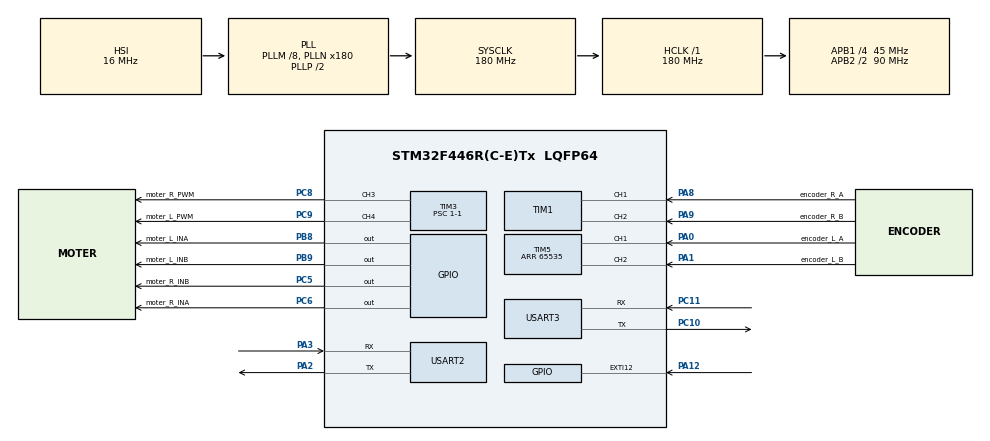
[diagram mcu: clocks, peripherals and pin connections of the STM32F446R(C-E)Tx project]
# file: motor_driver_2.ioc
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Mcu.Family=STM32F4
Dma.USART3_RX.1.Mode=DMA_CIRCULAR
RCC.CortexFreq_Value=180000000
NVIC.TIM6_DAC_IRQn=true\:0\:0\:false\:false\:true\:true\:true
PC10.Signal=USART3_TX
TIM5.EncoderMode=TIM_ENCODERMODE_TI12
SH.S_TIM5_CH2.0=TIM5_CH2,Encoder_Interface
PC6.GPIO_Label=moter_R_INA
TIM1.EncoderMode=TIM_ENCODERMODE_TI12
TIM3.Channel-PWM\ Generation4\ CH4=TIM_CHANNEL_4
RCC.SYSCLKSource=RCC_SYSCLKSOURCE_PLLCLK
ProjectManager.StackSize=0x400
PA12.Signal=GPXTI12
Dma.USART3_RX.1.MemInc=DMA_MINC_ENABLE
Dma.USART3_RX.1.Instance=DMA1_Stream1
Dma.USART2_RX.0.Priority=DMA_PRIORITY_LOW
Dma.USART2_RX.0.PeriphDataAlignment=DMA_PDATAALIGN_BYTE
RCC.HCLKFreq_Value=180000000
RCC.APB2TimFreq_Value=180000000
TIM3.Period=2250
Dma.USART3_RX.1.PeriphDataAlignment=DMA_PDATAALIGN_BYTE
PA1.GPIO_PuPd=GPIO_NOPULL
RCC.AHBFreq_Value=180000000
NVIC.EXTI15_10_IRQn=true\:0\:0\:false\:false\:true\:true\:true
Dma.USART2_RX.0.MemDataAlignment=DMA_MDATAALIGN_BYTE
Dma.USART3_RX.1.Priority=DMA_PRIORITY_LOW
TIM3.Prescaler=1-1
Dma.USART2_RX.0.Instance=DMA1_Stream5
PA8.Signal=S_TIM1_CH1
TIM6.Period=1000
Mcu.Package=LQFP64
PB9.Signal=GPIO_Output
Dma.USART3_RX.1.FIFOMode=DMA_FIFOMODE_DISABLE
Dma.USART2_RX.0.PeriphInc=DMA_PINC_DISABLE
USART2.VirtualMode=VM_ASYNC
Dma.USART2_RX.0.FIFOMode=DMA_FIFOMODE_DISABLE
Dma.USART3_RX.1.Direction=DMA_PERIPH_TO_MEMORY
PC11.Mode=Asynchronous
RCC.APB2CLKDivider=RCC_HCLK_DIV2
Dma.Request1=USART3_RX
RCC.APB1TimFreq_Value=90000000
SH.S_TIM5_CH1.0=TIM5_CH1,Encoder_Interface
PC5.Signal=GPIO_Output
PA12.GPIO_PuPd=GPIO_PULLUP
Dma.Request0=USART2_RX
PA3.Signal=USART2_RX
PB9.GPIO_Label=moter_L_INB
PC9.GPIO_Label=moter_L_PWM
PA9.GPIO_Label=encoder_R_B
PC11.Signal=USART3_RX
PC8.Signal=S_TIM3_CH3
TIM6.Prescaler=90-1
PC6.Signal=GPIO_Output
PC10.Mode=Asynchronous
VP_TIM6_VS_ClockSourceINT.Mode=Enable_Timer
Dma.USART2_RX.0.Direction=DMA_PERIPH_TO_MEMORY
Dma.USART3_RX.1.MemDataAlignment=DMA_MDATAALIGN_BYTE
NVIC.DMA1_Stream1_IRQn=true\:0\:0\:false\:false\:true\:false\:true
RCC.APB1CLKDivider=RCC_HCLK_DIV4
SH.S_TIM3_CH3.0=TIM3_CH3,PWM Generation3 CH3
PA9.GPIO_PuPd=GPIO_NOPULL
PA0-WKUP.GPIO_Label=encoder_L_A
PA0-WKUP.Signal=S_TIM5_CH1
Dma.USART2_RX.0.Mode=DMA_CIRCULAR
PC8.GPIO_Label=moter_R_PWM
PA3.Mode=Asynchronous
TIM3.Channel-PWM\ Generation3\ CH3=TIM_CHANNEL_3
PB8.GPIO_Label=moter_L_INA
PA8.GPIO_Label=encoder_R_A
SH.S_TIM1_CH1.0=TIM1_CH1,Encoder_Interface
ProjectManager.TargetToolchain=STM32CubeIDE
NVIC.DMA1_Stream5_IRQn=true\:0\:0\:false\:false\:true\:false\:true
PA9.Signal=S_TIM1_CH2
RCC.USBFreq_Value=180000000
PA1.Signal=S_TIM5_CH2
board=custom
RCC.VCOOutputFreq_Value=360000000
RCC.APB2Freq_Value=90000000
SH.S_TIM1_CH2.0=TIM1_CH2,Encoder_Interface
PA1.GPIO_Label=encoder_L_B
Mcu.Name=STM32F446R(C-E)Tx
Dma.USART2_RX.0.MemInc=DMA_MINC_ENABLE
PA2.Signal=USART2_TX
RCC.SYSCLKFreq_VALUE=180000000
PC5.GPIO_Label=moter_R_INB
USART3.VirtualMode=VM_ASYNC
ProjectManager.HeapSize=0x200
PA8.GPIO_PuPd=GPIO_NOPULL
NVIC.PriorityGroup=NVIC_PRIORITYGROUP_4
RCC.PLLM=8
RCC.PLLN=180
PA2.Mode=Asynchronous
PB8.Signal=GPIO_Output
PA0-WKUP.GPIO_PuPd=GPIO_NOPULL
TIM5.Period=65535
PC9.Signal=S_TIM3_CH4
RCC.APB1Freq_Value=45000000
Dma.USART3_RX.1.PeriphInc=DMA_PINC_DISABLE
SH.S_TIM3_CH4.0=TIM3_CH4,PWM Generation4 CH4

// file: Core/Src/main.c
/* USER CODE BEGIN Header */
/**
  ******************************************************************************
  * @file           : main.c
  * @brief          : Main program body
  ******************************************************************************
  * @attention
  *
  * <h2><center>&copy; Copyright (c) 2021 STMicroelectronics.
  * All rights reserved.</center></h2>
  *
  * This software component is licensed by ST under BSD 3-Clause license,
  * the "License"; You may not use this file except in compliance with the
  * License. You may obtain a copy of the License at:
  *                        opensource.org/licenses/BSD-3-Clause
  *
  ******************************************************************************
  */
/* USER CODE END Header */
#include "main.h"
#include "dma.h"
#include "tim.h"
#include "usart.h"
#include "gpio.h"

/* USER CODE BEGIN Includes */
#include <stdio.h>
#include <stdlib.h>
#include <time.h>
#include <string.h>
#include "robot_param.h"
#include "robot_control.h"
/* USER CODE END Includes */

/* USER CODE BEGIN PD */
#define RXBUFSIZE 32
/* USER CODE END PD */

/* USER CODE BEGIN PV */
Robot robot;

// for system id
int duty = 400;
float t = 0.0f;
int count = 0;
float vel = 0.0f;

float cmd_velocity = 0.0f;
float cmd_angular_velocity = 0.0f;

char pTxData[6];
char pRxData[6];

const int rx_buffer_size = RXBUFSIZE;

uint8_t uart2_rx_buffer[RXBUFSIZE] = {0};
int uart2_buf_index = 0;
uint8_t uart2_rx_byte = 0;

uint8_t uart3_rx_buffer[RXBUFSIZE] = {0};
int uart3_buf_index = 0;
uint8_t uart3_rx_byte = 0;

char pos_info[32];

const int motor_check = 0b10000000;
const int dir_check   = 0b01000000;
const int value_check = 0b00111111;

volatile int lspeed = 0;
volatile int rspeed = 0;
double dlspeed = 0;
double drspeed = 0;
const double spd_ratio = 0.1;

/* USER CODE END PV */

void SystemClock_Config(void);
/* USER CODE BEGIN PFP */
uint8_t readSerialByte( UART_HandleTypeDef *huart, uint8_t* buf, int* buf_index, const int buf_size);
/* USER CODE END PFP */

int main(void)
{

  /* MCU Configuration--------------------------------------------------------*/

  /* Reset of all peripherals, Initializes the Flash interface and the Systick. */
  HAL_Init();

  /* Configure the system clock */
  SystemClock_Config();

  /* Initialize all configured peripherals */
  MX_GPIO_Init();
  MX_DMA_Init();
  MX_TIM1_Init();
  MX_TIM3_Init();
  MX_TIM5_Init();
  MX_USART2_UART_Init();
  MX_TIM6_Init();
  MX_USART3_UART_Init();
  /* USER CODE BEGIN 2 */
  HAL_UART_Receive_DMA(&huart2,uart2_rx_buffer,rx_buffer_size);
  HAL_UART_Receive_DMA(&huart3,uart3_rx_buffer,rx_buffer_size);
  Robot_init(&robot);
  /* USER CODE END 2 */

  /* Infinite loop */
  while (1)
  {

    /* USER CODE BEGIN 3 */
	memset(pos_info, 0, 32);
	snprintf(pos_info, 32, "%4.4lf %4.4lf\r\n", robot.motor_L.velocity, robot.motor_R.velocity );
	HAL_UART_Transmit(&huart3, (uint8_t *)&pos_info, 32, 10);
//	uart2_rx_byte = readSerialByte(&huart2, uart2_rx_buffer, &uart2_buf_index, rx_buffer_size);
	uart3_rx_byte = readSerialByte(&huart3, uart3_rx_buffer, &uart3_buf_index, rx_buffer_size);
//	if ( uart2_rx_byte != 0){
////		HAL_UART_Transmit(&huart2, &uart2_rx_byte, 1, 10);
//		HAL_UART_Transmit(&huart3, &uart2_rx_byte, 1, 10);
//	}
	if ( uart3_rx_byte != 0){
//		HAL_UART_Transmit(&huart2, &uart3_rx_byte, 1, 10);
//		HAL_UART_Transmit(&huart3, &uart3_rx_byte, 1, 10);
		int motor = uart3_rx_byte & motor_check ? 1:0;
		int dir   = uart3_rx_byte & dir_check ? 1:0; // 0 for negative, 1 for positive
		int value = uart3_rx_byte & value_check;
 		if (motor) {
			// true for left
			lspeed = dir ? value : -value;
			dlspeed = lspeed * spd_ratio;
		} else {
			// false for right
			rspeed = dir ? value : -value;
			drspeed = rspeed * spd_ratio;
		}
	}
  }
  /* USER CODE END 3 */
}

void SystemClock_Config(void)
{
  RCC_OscInitTypeDef RCC_OscInitStruct = {0};
  RCC_ClkInitTypeDef RCC_ClkInitStruct = {0};

  /** Configure the main internal regulator output voltage
  */
  __HAL_RCC_PWR_CLK_ENABLE();
  __HAL_PWR_VOLTAGESCALING_CONFIG(PWR_REGULATOR_VOLTAGE_SCALE1);
  /** Initializes the RCC Oscillators according to the specified parameters
  * in the RCC_OscInitTypeDef structure.
  */
  RCC_OscInitStruct.OscillatorType = RCC_OSCILLATORTYPE_HSI;
  RCC_OscInitStruct.HSIState = RCC_HSI_ON;
  RCC_OscInitStruct.HSICalibrationValue = RCC_HSICALIBRATION_DEFAULT;
  RCC_OscInitStruct.PLL.PLLState = RCC_PLL_ON;
  RCC_OscInitStruct.PLL.PLLSource = RCC_PLLSOURCE_HSI;
  RCC_OscInitStruct.PLL.PLLM = 8;
  RCC_OscInitStruct.PLL.PLLN = 180;
  RCC_OscInitStruct.PLL.PLLP = RCC_PLLP_DIV2;
  RCC_OscInitStruct.PLL.PLLQ = 2;
  RCC_OscInitStruct.PLL.PLLR = 2;
  if (HAL_RCC_OscConfig(&RCC_OscInitStruct) != HAL_OK)
  {
    Error_Handler();
  }
  /** Activate the Over-Drive mode
  */
  if (HAL_PWREx_EnableOverDrive() != HAL_OK)
  {
    Error_Handler();
  }
  /** Initializes the CPU, AHB and APB buses clocks
  */
  RCC_ClkInitStruct.ClockType = RCC_CLOCKTYPE_HCLK|RCC_CLOCKTYPE_SYSCLK
                              |RCC_CLOCKTYPE_PCLK1|RCC_CLOCKTYPE_PCLK2;
  RCC_ClkInitStruct.SYSCLKSource = RCC_SYSCLKSOURCE_PLLCLK;
  RCC_ClkInitStruct.AHBCLKDivider = RCC_SYSCLK_DIV1;
  RCC_ClkInitStruct.APB1CLKDivider = RCC_HCLK_DIV4;
  RCC_ClkInitStruct.APB2CLKDivider = RCC_HCLK_DIV2;

  if (HAL_RCC_ClockConfig(&RCC_ClkInitStruct, FLASH_LATENCY_5) != HAL_OK)
  {
    Error_Handler();
  }
}

/* USER CODE BEGIN 4 */
uint8_t readSerialByte( UART_HandleTypeDef *huart, uint8_t* buf, int* buf_index, const int buf_size){
	uint8_t data = 0;

	int index = huart->hdmarx->Instance->NDTR;
	index = buf_size - index;

	int remainData = index - *buf_index;
	if (remainData < 0) remainData+= buf_size;

	if (remainData > 0) {
		data = buf[*buf_index];
		*buf_index += 1;
		if (*buf_index == buf_size) *buf_index = 0;
	}

	return data;

}
//void HAL_GPIO_EXTI_Callback(uint16_t GPIO_Pin){
//	if(GPIO_Pin == GPIO_PIN_12){
//		snprintf(pTxData, sizeof(pTxData), "01234");
//		HAL_SPI_TransmitReceive(&hspi1, (uint8_t*)pTxData, (uint8_t*)pRxData, sizeof(pTxData), 1);
//	}
//}

void HAL_TIM_PeriodElapsedCallback(TIM_HandleTypeDef *htim)
{
	if(htim == robot.INT_TIM){
		Drv_Motor_ReadVelocity(&robot.motor_L);
		Drv_Motor_ReadVelocity(&robot.motor_R);
		Drv_Motor_ControlwithWheelVelocity(&robot.motor_L, dlspeed);
		Drv_Motor_ControlwithWheelVelocity(&robot.motor_R, drspeed);
//		memset(pos_info, 0, 32);
//		snprintf(pos_info, 32, "%4.4lf %4.4lf\r\n", robot.motor_L.velocity, robot.motor_R.velocity );
//		HAL_UART_Transmit(&huart2, (uint8_t *)&pos_info, 32, 10);
//		Robot_ControlwithRobotVelocity(&robot, 0.0, -0.5);
//		snprintf(pTxData, sizeof(pTxData), "Hello");
//		HAL_SPI_TransmitReceive(&hspi1, (uint8_t*)pTxData, (uint8_t*)pRxData, sizeof(pTxData), 1);
		// chirp input for system identify
//		duty = 1400 + 600*sin(M_TWOPI*(0.001+t/40)*t);
//		duty = (int)duty;
		//random input for system id validation
//		count += 1;
//		if(count == 1000){
//			duty = (rand()%1501)+ 400;
//			count = 0;
//		}
		// left motor
//		HAL_GPIO_WritePin(GPIOB, GPIO_PIN_8, GPIO_PIN_RESET);
//		HAL_GPIO_WritePin(GPIOB, GPIO_PIN_9, GPIO_PIN_SET);
//		__HAL_TIM_SET_COMPARE(&htim3, TIM_CHANNEL_4, duty);
//		HAL_TIM_PWM_Start(&htim3, TIM_CHANNEL_4);
		// right motor
		//	  HAL_GPIO_WritePin(GPIOC, GPIO_PIN_5, GPIO_PIN_RESET);
		//	  HAL_GPIO_WritePin(GPIOC, GPIO_PIN_6, GPIO_PIN_SET);
		//	  __HAL_TIM_SET_COMPARE(&htim3, TIM_CHANNEL_3, duty);
		//	  HAL_TIM_PWM_Start(&htim3, TIM_CHANNEL_3);
//		t += TIM6_DT;

		// sent msg to serial
//		char msg[11];
//		snprintf(msg, sizeof(msg), "%.4f\r\n", velocityL);
//		snprintf(msg, sizeof(msg), "v: %.4f, ref: %.4f, duty: %d\r\n", velocityR, ref_velocityR, dutyR);
//		snprintf(msg, sizeof(msg), "v: %.4f, duty: %d\r\n", velocityR, dutyR);
//		snprintf(msg, sizeof(msg), "%.4f, %.4f\r\n", velocityR, ref_velocityR);
//		HAL_UART_Transmit(&huart2, (uint8_t*)msg, sizeof(msg), 1);
	}
}
/* USER CODE END 4 */

void Error_Handler(void)
{
}

/************************ (C) COPYRIGHT STMicroelectronics *****END OF FILE****/
